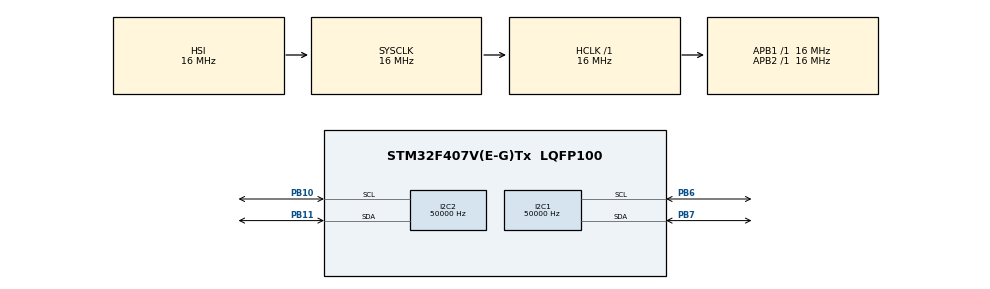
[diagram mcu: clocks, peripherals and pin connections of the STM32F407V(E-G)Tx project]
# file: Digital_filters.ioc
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I2C1.ClockSpeed=50000
I2C2.ClockSpeed=50000
Mcu.Family=STM32F4
Mcu.Name=STM32F407V(E-G)Tx
Mcu.Package=LQFP100
NVIC.PriorityGroup=NVIC_PRIORITYGROUP_4
PA13.Mode=Serial_Wire
PA13.Signal=SYS_JTMS-SWDIO
PA14.Mode=Serial_Wire
PA14.Signal=SYS_JTCK-SWCLK
PB10.GPIO_Pu=GPIO_PULLUP
PB10.Mode=I2C
PB10.Signal=I2C2_SCL
PB11.GPIO_Pu=GPIO_PULLUP
PB11.Mode=I2C
PB11.Signal=I2C2_SDA
PB6.GPIO_Pu=GPIO_PULLUP
PB6.Mode=I2C
PB6.Signal=I2C1_SCL
PB7.GPIO_Pu=GPIO_PULLUP
PB7.Mode=I2C
PB7.Signal=I2C1_SDA
PH0-OSC_IN.Mode=HSE-External-Oscillator
PH0-OSC_IN.Signal=RCC_OSC_IN
PH1-OSC_OUT.Mode=HSE-External-Oscillator
PH1-OSC_OUT.Signal=RCC_OSC_OUT
ProjectManager.HeapSize=0x200
ProjectManager.StackSize=0x400
ProjectManager.TargetToolchain=STM32CubeIDE
RCC.AHBFreq_Value=16000000
RCC.APB1Freq_Value=16000000
RCC.APB2Freq_Value=16000000
RCC.CortexFreq_Value=16000000
RCC.HSE_VALUE=25000000
RCC.HSI_VALUE=16000000
RCC.LSE_VALUE=32768
RCC.SYSCLKFreq_VALUE=16000000
RCC.VCOOutputFreq_Value=192000000
board=custom

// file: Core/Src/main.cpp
/* USER CODE BEGIN Header */
/**
 ******************************************************************************
 * @file           : main.c
 * @brief          : Main program body
 ******************************************************************************
 * @attention
 *
 * Copyright (c) 2024 STMicroelectronics.
 * All rights reserved.
 *
 * This software is licensed under terms that can be found in the LICENSE file
 * in the root directory of this software component.
 * If no LICENSE file comes with this software, it is provided AS-IS.
 *
 ******************************************************************************
 */
/* USER CODE END Header */
#include <main.hpp>
#include "filter.hpp"
#include "stdio.h"
#include <math.h>
#include <time.h>
#include "stdlib.h"

/* USER CODE BEGIN Includes */
#include "i2c-lcd.h"
/* USER CODE END Includes */

/* USER CODE BEGIN PTD */
uint32_t _values = 0;
/* USER CODE END PTD */

I2C_HandleTypeDef hi2c1;
I2C_HandleTypeDef hi2c2;

void SystemClock_Config(void);
static void MX_GPIO_Init(void);
static void MX_I2C1_Init(void);
static void MX_I2C2_Init(void);

/* USER CODE BEGIN 0 */
#define MPU6050_ADDR 		0XD0
#define SMPLRT_DIV_REG 		0X19
#define GYRO_CONFIG_REG 	0X1B
#define ACCEL_CONFIG_REG 	0X1C
#define ACCEL_XOUT_H_REG	0X3B
#define TEMP_OUT_H_REG 		0X41
#define GYRO_XOUT_H_REG 	0X43
#define PWR_MGMT_1_REG 		0X6B
#define WHO_AM_I_REG 		0X75

// accelerometer dimensions
uint16_t accel_x_raw;
uint16_t accel_y_raw;
uint16_t accel_z_raw;

// gyroscope dimensions
uint16_t gyro_x_raw;
uint16_t gyro_y_raw;
uint16_t gyro_z_raw;

float Ax, Ay, Az, Gx, Gy, Gz;

void MPU6050_Init(void) {
	uint8_t check, data;
	HAL_I2C_Mem_Read(&hi2c2, MPU6050_ADDR, WHO_AM_I_REG, 1, &check, 1, 1000);
	if (check == 104) {  // if device is present
		// power management register should be written with 0's to wake up the sensor
		data = 0;
		HAL_I2C_Mem_Write(&hi2c2, MPU6050_ADDR, PWR_MGMT_1_REG, 1, &data, 1,
				1000);
		// set data rate of 1khz by writing SMPLRT_DIV register
		data = 0x07;
		HAL_I2C_Mem_Write(&hi2c2, MPU6050_ADDR, SMPLRT_DIV_REG, 1, &data, 1,
				1000);

		data = 0x00;
		HAL_I2C_Mem_Write(&hi2c2, MPU6050_ADDR, ACCEL_CONFIG_REG, 1, &data, 1,
				1000);

		data = 0x00;
		HAL_I2C_Mem_Write(&hi2c2, MPU6050_ADDR, GYRO_CONFIG_REG, 1, &data, 1,
				1000);
	}
}

void MPU6050_Read_Accel(void) {
	uint8_t rec_data[6];
	HAL_I2C_Mem_Read(&hi2c2, MPU6050_ADDR, ACCEL_XOUT_H_REG, 1, rec_data, 6,
			1000);
	accel_x_raw = (uint16_t) (rec_data[0] << 8 | rec_data[1]);
	accel_y_raw = (uint16_t) (rec_data[2] << 8 | rec_data[3]);
	accel_z_raw = (uint16_t) (rec_data[4] << 8 | rec_data[5]);
	Ax = accel_x_raw / 16384.0;
	Ay = accel_y_raw / 16384.0;
	Az = accel_z_raw / 16384.0;
}

void MPU6050_Read_Gyro(void) {
	uint8_t rec_data[6];
	HAL_I2C_Mem_Read(&hi2c2, MPU6050_ADDR, GYRO_XOUT_H_REG, 1, rec_data, 6,
			1000);
	gyro_x_raw = (uint16_t) (rec_data[0] << 8 | rec_data[1]);
	gyro_y_raw = (uint16_t) (rec_data[2] << 8 | rec_data[3]);
	gyro_z_raw = (uint16_t) (rec_data[4] << 8 | rec_data[5]);
	Gx = gyro_x_raw / 131.0;
	Gy = gyro_y_raw / 131.0;
	Gz = gyro_z_raw / 131.0;
}

int getRandomNumber(int min, int max) {
    // Seed the random number generator
    srand(_values);
    _values++;
    if(_values == 4000000)
    	_values = 0;

    // Generate a random number between min and max
    return rand() % (max - min + 1) + min;
}

/* USER CODE END 0 */

int main(void) {
	/* USER CODE BEGIN 1 */
	filter FIR = filter(fir,4);
	float imp_res[4] = {0.25,0.25,0.25,0.25};
	float value;
	float angle = 30;
	float filtered_value;
	float noised_signal;
	/* USER CODE END 1 */

	/* MCU Configuration--------------------------------------------------------*/

	/* Reset of all peripherals, Initializes the Flash interface and the Systick. */
	HAL_Init();

	/* Configure the system clock */
	SystemClock_Config();

	/* Initialize all configured peripherals */
	MX_GPIO_Init();
	MX_I2C1_Init();
	MX_I2C2_Init();
	/* USER CODE BEGIN 2 */
	// lcd_init();
	MPU6050_Init();
	//lcd_send_string("Initialized");
	//HAL_Delay(1000);
	//lcd_clear();
	//lcd_send_cmd(0x80|0x5a);
	//lcd_send_string("MPU6050");
	/* USER CODE END 2 */

	/* Infinite loop */
	while (1) {

		/* USER CODE BEGIN 3 */
		// MPU6050_Read_Accel();
		// MPU6050_Read_Gyro();
		if(angle == 360){
			angle = 0;
		}
		value = sin(angle*M_PI/180);
		angle = angle + 1;
		noised_signal = value + ((float)getRandomNumber(0,100)/200 - 0.25)/10;
		filtered_value = FIR.update(noised_signal, imp_res);

		HAL_Delay(20);  // wait for a while
	}
	/* USER CODE END 3 */
}

void SystemClock_Config(void) {
	RCC_OscInitTypeDef RCC_OscInitStruct = { 0 };
	RCC_ClkInitTypeDef RCC_ClkInitStruct = { 0 };

	/** Configure the main internal regulator output voltage
	 */
	__HAL_RCC_PWR_CLK_ENABLE();
	__HAL_PWR_VOLTAGESCALING_CONFIG(PWR_REGULATOR_VOLTAGE_SCALE1);

	/** Initializes the RCC Oscillators according to the specified parameters
	 * in the RCC_OscInitTypeDef structure.
	 */
	RCC_OscInitStruct.OscillatorType = RCC_OSCILLATORTYPE_HSI;
	RCC_OscInitStruct.HSIState = RCC_HSI_ON;
	RCC_OscInitStruct.HSICalibrationValue = RCC_HSICALIBRATION_DEFAULT;
	RCC_OscInitStruct.PLL.PLLState = RCC_PLL_NONE;
	if (HAL_RCC_OscConfig(&RCC_OscInitStruct) != HAL_OK) {
		Error_Handler();
	}

	/** Initializes the CPU, AHB and APB buses clocks
	 */
	RCC_ClkInitStruct.ClockType = RCC_CLOCKTYPE_HCLK | RCC_CLOCKTYPE_SYSCLK
			| RCC_CLOCKTYPE_PCLK1 | RCC_CLOCKTYPE_PCLK2;
	RCC_ClkInitStruct.SYSCLKSource = RCC_SYSCLKSOURCE_HSI;
	RCC_ClkInitStruct.AHBCLKDivider = RCC_SYSCLK_DIV1;
	RCC_ClkInitStruct.APB1CLKDivider = RCC_HCLK_DIV1;
	RCC_ClkInitStruct.APB2CLKDivider = RCC_HCLK_DIV1;

	if (HAL_RCC_ClockConfig(&RCC_ClkInitStruct, FLASH_LATENCY_0) != HAL_OK) {
		Error_Handler();
	}
}

static void MX_I2C1_Init(void) {

	hi2c1.Instance = I2C1;
	hi2c1.Init.ClockSpeed = 50000;
	hi2c1.Init.DutyCycle = I2C_DUTYCYCLE_2;
	hi2c1.Init.OwnAddress1 = 0;
	hi2c1.Init.AddressingMode = I2C_ADDRESSINGMODE_7BIT;
	hi2c1.Init.DualAddressMode = I2C_DUALADDRESS_DISABLE;
	hi2c1.Init.OwnAddress2 = 0;
	hi2c1.Init.GeneralCallMode = I2C_GENERALCALL_DISABLE;
	hi2c1.Init.NoStretchMode = I2C_NOSTRETCH_DISABLE;
	if (HAL_I2C_Init(&hi2c1) != HAL_OK) {
		Error_Handler();
	}

}

static void MX_I2C2_Init(void) {

	hi2c2.Instance = I2C2;
	hi2c2.Init.ClockSpeed = 50000;
	hi2c2.Init.DutyCycle = I2C_DUTYCYCLE_2;
	hi2c2.Init.OwnAddress1 = 0;
	hi2c2.Init.AddressingMode = I2C_ADDRESSINGMODE_7BIT;
	hi2c2.Init.DualAddressMode = I2C_DUALADDRESS_DISABLE;
	hi2c2.Init.OwnAddress2 = 0;
	hi2c2.Init.GeneralCallMode = I2C_GENERALCALL_DISABLE;
	hi2c2.Init.NoStretchMode = I2C_NOSTRETCH_DISABLE;
	if (HAL_I2C_Init(&hi2c2) != HAL_OK) {
		Error_Handler();
	}

}

static void MX_GPIO_Init(void) {

	/* GPIO Ports Clock Enable */
	__HAL_RCC_GPIOH_CLK_ENABLE();
	__HAL_RCC_GPIOB_CLK_ENABLE();
	__HAL_RCC_GPIOA_CLK_ENABLE();

}

void Error_Handler(void) {
	__disable_irq();
	while (1) {
	}
}
